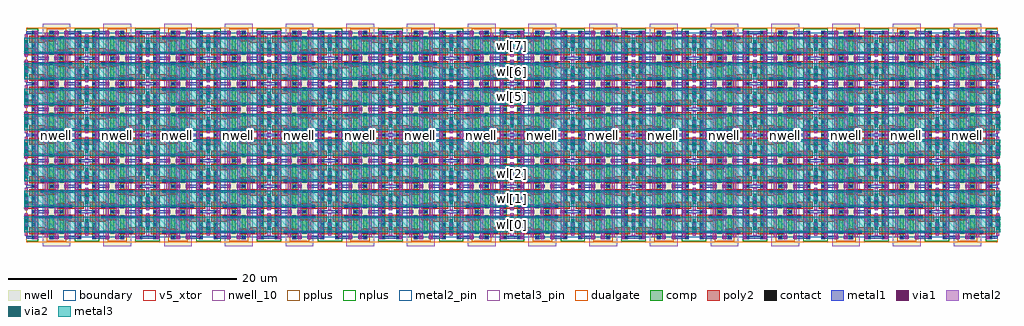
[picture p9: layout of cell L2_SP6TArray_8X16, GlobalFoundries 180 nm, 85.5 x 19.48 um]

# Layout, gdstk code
from math import pi, radians
import gdstk
lib = gdstk.Library(unit=1e-6, precision=1e-09)
def R(c, l, rs):  # rectangles x0, y0, x1, y1
    for r in rs: c.add(gdstk.rectangle(r[:2], r[2:], *l))
def A(c, l, x, y, w, h, nx, ny, dx, dy):  # array of equal rectangles
    R(c, l, [(x+i*dx, y+j*dy, x+i*dx+w, y+j*dy+h) for i in range(nx) for j in range(ny)])
def P(c, l, *ps):  # polygons
    for p in ps: c.add(gdstk.Polygon(p, *l))
boundary = (0, 0)
nwell = (21, 0)
nwell_10 = (21, 10)
comp = (22, 0)
poly2 = (30, 0)
pplus = (31, 0)
nplus = (32, 0)
contact = (33, 0)
metal1 = (34, 0)
via1 = (35, 0)
metal2 = (36, 0)
metal2_pin = (36, 10)
via2 = (38, 0)
metal3 = (42, 0)
metal3_pin = (42, 10)
dualgate = (55, 0)
v5_xtor = (112, 1)

l2_sp6tcell = lib.new_cell('L2_SP6TCell')
R(l2_sp6tcell, boundary, [(0,0,5.32,2.24)])
R(l2_sp6tcell, nwell, [(1.44,-0.78,3.88,3.02)])
R(l2_sp6tcell, nwell_10, [(1.44,-0.78,3.88,3.02)])
R(l2_sp6tcell, comp, [(0.48,-0.18,0.84,2.42), (2.92,-0.18,3.28,1.16), (4.48,-0.18,4.84,2.42), (2.04,0.295,2.4,0.655), (2.04,0.655,2.4,1.48), (2.92,0.76,3.28,1.585), (2.04,1.08,2.4,2.42), (2.92,1.585,3.28,1.945)])
R(l2_sp6tcell, poly2, [(-0.18,0.26,1.06,0.86), (4.26,1.38,5.5,1.98)])
P(l2_sp6tcell, poly2, [(0.26,1.38),(0.26,1.98),(2.62,1.98),(2.62,1.48),(1.62,1.48),(1.62,1.38)],
  [(2.7,0.26),(2.7,0.76),(3.7,0.76),(3.7,0.86),(5.06,0.86),(5.06,0.26)])
R(l2_sp6tcell, pplus, [(1.81,-0.34,3.51,2.58)])
R(l2_sp6tcell, nplus, [(0,-0.34,1.07,2.58), (4.25,-0.34,5.32,2.58)])
A(l2_sp6tcell, contact, 0.55, -0.11, 0.22, 0.22, 1, 3, 0, 1.12)
A(l2_sp6tcell, contact, 4.55, -0.11, 0.22, 0.22, 1, 3, 0, 1.12)
R(l2_sp6tcell, contact, [(2.99,-0.11,3.21,0.11), (-0.11,0.365,0.11,0.585), (2.11,0.365,2.33,0.585), (3.77,0.365,3.99,0.585), (1.33,1.655,1.55,1.875), (2.99,1.655,3.21,1.875), (5.21,1.655,5.43,1.875), (2.11,2.13,2.33,2.35)])
R(l2_sp6tcell, metal1, [(0.49,-0.13,1.97,0.13), (2.47,-0.13,3.27,0.13), (4.24,-0.13,5.32,0.13), (-0.17,0.36,0.17,1.31), (5.15,0.93,5.49,1.88), (0,2.11,1.08,2.37), (2.05,2.11,2.85,2.37), (3.35,2.11,4.83,2.37)])
P(l2_sp6tcell, metal1, [(4.545,0.95),(4.545,1.65),(1.27,1.65),(1.27,1.88),(4.775,1.88),(4.775,0.95)],
  [(0.545,0.36),(0.545,1.29),(0.775,1.29),(0.775,0.59),(4.05,0.59),(4.05,0.36)])
R(l2_sp6tcell, via1, [(1.65,-0.13,1.91,0.13), (2.53,-0.13,2.79,0.13), (4.3,-0.13,4.56,0.13), (-0.13,0.99,0.13,1.25), (5.19,0.99,5.45,1.25), (0.76,2.11,1.02,2.37), (2.53,2.11,2.79,2.37), (3.41,2.11,3.67,2.37)])
R(l2_sp6tcell, metal2, [(1.64,-0.19,1.92,2.24), (2.52,-0.19,2.8,2.43), (4.29,-0.19,4.57,2.24), (0.75,0,1.03,2.43), (3.4,0,3.68,2.43), (-0.14,0.14,0.14,2.1), (5.18,0.14,5.46,2.1)])
R(l2_sp6tcell, metal2_pin, [(1.64,-0.19,1.92,2.24), (2.52,-0.19,2.8,2.43), (4.29,-0.19,4.57,2.24), (0.75,0,1.03,2.43), (3.4,0,3.68,2.43)])
R(l2_sp6tcell, via2, [(-0.13,0.68,0.13,0.94), (5.19,0.68,5.45,0.94), (-0.13,1.3,0.13,1.56), (5.19,1.3,5.45,1.56)])
R(l2_sp6tcell, metal3, [(-0.19,0.42,5.51,1.82)])
R(l2_sp6tcell, metal3_pin, [(-0.19,0.42,5.51,1.82)])
R(l2_sp6tcell, dualgate, [(0,-0.42,5.32,2.66)])
R(l2_sp6tcell, v5_xtor, [(0.475,0.255,0.845,0.865), (2.915,0.255,3.285,0.765), (4.475,0.255,4.845,0.865), (0.475,1.375,0.845,1.985), (4.475,1.375,4.845,1.985), (2.035,1.475,2.405,1.985)])
l2_sp6tcell.add(gdstk.Label('nwell', (2.66,1.12), layer=21, texttype=10))
l2_sp6tcell.add(gdstk.Label('wl', (2.66,1.12), layer=42, texttype=10))
l2_sp6tcell.add(gdstk.Label('bl_n', (3.54,1.215), layer=36, texttype=10))
l2_sp6tcell.add(gdstk.Label('vdd', (2.66,1.12), layer=36, texttype=10))
l2_sp6tcell.add(gdstk.Label('vss', (4.43,1.025), layer=36, texttype=10))
l2_sp6tcell.add(gdstk.Label('vss', (0.89,1.215), layer=36, texttype=10))
l2_sp6tcell.add(gdstk.Label('bl', (1.78,1.025), layer=36, texttype=10))

l2_sp6tarray_2x1 = lib.new_cell('L2_SP6TArray_2X1')
R(l2_sp6tarray_2x1, boundary, [(0,0,5.32,4.48)])
R(l2_sp6tarray_2x1, nwell, [(1.44,-0.78,3.88,5.26)])
R(l2_sp6tarray_2x1, nwell_10, [(1.44,-0.78,3.88,5.26)])
R(l2_sp6tarray_2x1, metal2, [(0.75,-0.19,1.03,4.48), (2.52,-0.19,2.8,4.48), (3.4,-0.19,3.68,4.67), (1.64,0,1.92,4.48), (4.29,0,4.57,4.48)])
R(l2_sp6tarray_2x1, metal2_pin, [(0.75,-0.19,1.03,4.48), (2.52,-0.19,2.8,4.48), (3.4,-0.19,3.68,4.67), (1.64,0,1.92,4.48), (4.29,0,4.57,4.48)])
R(l2_sp6tarray_2x1, metal3, [(-0.19,0.42,5.51,1.82), (-0.19,2.66,5.51,4.06)])
R(l2_sp6tarray_2x1, metal3_pin, [(-0.19,0.42,5.51,1.82), (-0.19,2.66,5.51,4.06)])
l2_sp6tarray_2x1.add(gdstk.Reference(l2_sp6tcell, (0,2.24)))
l2_sp6tarray_2x1.add(gdstk.Reference(l2_sp6tcell, (0,2.24), x_reflection=True))
l2_sp6tarray_2x1.add(gdstk.Label('nwell', (2.66,2.24), layer=21, texttype=10))
l2_sp6tarray_2x1.add(gdstk.Label('wl[1]', (2.66,3.36), layer=42, texttype=10))
l2_sp6tarray_2x1.add(gdstk.Label('wl[0]', (2.66,1.12), layer=42, texttype=10))
l2_sp6tarray_2x1.add(gdstk.Label('bl_n[0]', (3.54,2.24), layer=36, texttype=10))
l2_sp6tarray_2x1.add(gdstk.Label('bl[0]', (1.78,2.24), layer=36, texttype=10))
l2_sp6tarray_2x1.add(gdstk.Label('vdd', (2.66,2.145), layer=36, texttype=10))
l2_sp6tarray_2x1.add(gdstk.Label('vss', (0.89,2.145), layer=36, texttype=10))
l2_sp6tarray_2x1.add(gdstk.Label('vss', (4.43,2.24), layer=36, texttype=10))

l2_sp6tarray_2x2 = lib.new_cell('L2_SP6TArray_2X2')
R(l2_sp6tarray_2x2, boundary, [(0,0,10.64,4.48)])
R(l2_sp6tarray_2x2, nwell, [(1.44,-0.78,3.88,5.26), (6.76,-0.78,9.2,5.26)])
R(l2_sp6tarray_2x2, nwell_10, [(1.44,-0.78,3.88,5.26), (6.76,-0.78,9.2,5.26)])
R(l2_sp6tarray_2x2, metal2, [(0.75,-0.19,1.03,4.48), (2.52,-0.19,2.8,4.48), (3.4,-0.19,3.68,4.67), (6.96,-0.19,7.24,4.67), (7.84,-0.19,8.12,4.48), (9.61,-0.19,9.89,4.48), (1.64,0,1.92,4.48), (4.29,0,4.57,4.48), (6.07,0,6.35,4.48), (8.72,0,9,4.48)])
R(l2_sp6tarray_2x2, metal2_pin, [(0.75,-0.19,1.03,4.48), (2.52,-0.19,2.8,4.48), (3.4,-0.19,3.68,4.67), (6.96,-0.19,7.24,4.67), (7.84,-0.19,8.12,4.48), (9.61,-0.19,9.89,4.48), (1.64,0,1.92,4.48), (4.29,0,4.57,4.48), (6.07,0,6.35,4.48), (8.72,0,9,4.48)])
R(l2_sp6tarray_2x2, metal3, [(-0.19,0.42,10.83,1.82), (-0.19,2.66,10.83,4.06)])
R(l2_sp6tarray_2x2, metal3_pin, [(-0.19,0.42,10.83,1.82), (-0.19,2.66,10.83,4.06)])
l2_sp6tarray_2x2.add(gdstk.Reference(l2_sp6tarray_2x1, (10.64,0), rotation=pi, x_reflection=True))
l2_sp6tarray_2x2.add(gdstk.Reference(l2_sp6tarray_2x1, (0,0)))
l2_sp6tarray_2x2.add(gdstk.Label('nwell', (2.66,2.24), layer=21, texttype=10))
l2_sp6tarray_2x2.add(gdstk.Label('nwell', (7.98,2.24), layer=21, texttype=10))
l2_sp6tarray_2x2.add(gdstk.Label('wl[1]', (5.32,3.36), layer=42, texttype=10))
l2_sp6tarray_2x2.add(gdstk.Label('wl[0]', (5.32,1.12), layer=42, texttype=10))
l2_sp6tarray_2x2.add(gdstk.Label('bl_n[1]', (7.1,2.24), layer=36, texttype=10))
l2_sp6tarray_2x2.add(gdstk.Label('bl[1]', (8.86,2.24), layer=36, texttype=10))
l2_sp6tarray_2x2.add(gdstk.Label('bl_n[0]', (3.54,2.24), layer=36, texttype=10))
l2_sp6tarray_2x2.add(gdstk.Label('bl[0]', (1.78,2.24), layer=36, texttype=10))
l2_sp6tarray_2x2.add(gdstk.Label('vdd', (2.66,2.145), layer=36, texttype=10))
l2_sp6tarray_2x2.add(gdstk.Label('vdd', (7.98,2.145), layer=36, texttype=10))
l2_sp6tarray_2x2.add(gdstk.Label('vss', (0.89,2.145), layer=36, texttype=10))
l2_sp6tarray_2x2.add(gdstk.Label('vss', (9.75,2.145), layer=36, texttype=10))
l2_sp6tarray_2x2.add(gdstk.Label('vss', (4.43,2.24), layer=36, texttype=10))
l2_sp6tarray_2x2.add(gdstk.Label('vss', (6.21,2.24), layer=36, texttype=10))

l2_sp6tarray_4x2 = lib.new_cell('L2_SP6TArray_4X2')
R(l2_sp6tarray_4x2, boundary, [(0,0,10.64,8.96)])
R(l2_sp6tarray_4x2, nwell, [(1.44,-0.78,3.88,9.74), (6.76,-0.78,9.2,9.74)])
R(l2_sp6tarray_4x2, nwell_10, [(1.44,-0.78,3.88,9.74), (6.76,-0.78,9.2,9.74)])
R(l2_sp6tarray_4x2, metal2, [(0.75,-0.19,1.03,8.96), (2.52,-0.19,2.8,8.96), (3.4,-0.19,3.68,9.15), (6.96,-0.19,7.24,9.15), (7.84,-0.19,8.12,8.96), (9.61,-0.19,9.89,8.96), (1.64,0,1.92,8.96), (4.29,0,4.57,8.96), (6.07,0,6.35,8.96), (8.72,0,9,8.96)])
R(l2_sp6tarray_4x2, metal2_pin, [(0.75,-0.19,1.03,8.96), (2.52,-0.19,2.8,8.96), (3.4,-0.19,3.68,9.15), (6.96,-0.19,7.24,9.15), (7.84,-0.19,8.12,8.96), (9.61,-0.19,9.89,8.96), (1.64,0,1.92,8.96), (4.29,0,4.57,8.96), (6.07,0,6.35,8.96), (8.72,0,9,8.96)])
A(l2_sp6tarray_4x2, metal3, -0.19, 0.42, 11.02, 1.4, 1, 4, 0, 2.24)
A(l2_sp6tarray_4x2, metal3_pin, -0.19, 0.42, 11.02, 1.4, 1, 4, 0, 2.24)
l2_sp6tarray_4x2.add(gdstk.Reference(l2_sp6tarray_2x2, (0,0)))
l2_sp6tarray_4x2.add(gdstk.Reference(l2_sp6tarray_2x2, (0,4.48)))
l2_sp6tarray_4x2.add(gdstk.Label('nwell', (2.66,4.48), layer=21, texttype=10))
l2_sp6tarray_4x2.add(gdstk.Label('nwell', (7.98,4.48), layer=21, texttype=10))
l2_sp6tarray_4x2.add(gdstk.Label('wl[3]', (5.32,7.84), layer=42, texttype=10))
l2_sp6tarray_4x2.add(gdstk.Label('wl[2]', (5.32,5.6), layer=42, texttype=10))
l2_sp6tarray_4x2.add(gdstk.Label('wl[1]', (5.32,3.36), layer=42, texttype=10))
l2_sp6tarray_4x2.add(gdstk.Label('wl[0]', (5.32,1.12), layer=42, texttype=10))
l2_sp6tarray_4x2.add(gdstk.Label('bl_n[1]', (7.1,4.48), layer=36, texttype=10))
l2_sp6tarray_4x2.add(gdstk.Label('bl[1]', (8.86,4.48), layer=36, texttype=10))
l2_sp6tarray_4x2.add(gdstk.Label('bl_n[0]', (3.54,4.48), layer=36, texttype=10))
l2_sp6tarray_4x2.add(gdstk.Label('bl[0]', (1.78,4.48), layer=36, texttype=10))
l2_sp6tarray_4x2.add(gdstk.Label('vdd', (2.66,4.385), layer=36, texttype=10))
l2_sp6tarray_4x2.add(gdstk.Label('vdd', (7.98,4.385), layer=36, texttype=10))
l2_sp6tarray_4x2.add(gdstk.Label('vss', (0.89,4.385), layer=36, texttype=10))
l2_sp6tarray_4x2.add(gdstk.Label('vss', (9.75,4.385), layer=36, texttype=10))
l2_sp6tarray_4x2.add(gdstk.Label('vss', (4.43,4.48), layer=36, texttype=10))
l2_sp6tarray_4x2.add(gdstk.Label('vss', (6.21,4.48), layer=36, texttype=10))

l2_sp6tarray_4x4 = lib.new_cell('L2_SP6TArray_4X4')
R(l2_sp6tarray_4x4, boundary, [(0,0,21.28,8.96)])
A(l2_sp6tarray_4x4, nwell, 1.44, -0.78, 2.44, 10.52, 4, 1, 5.32, 0)
A(l2_sp6tarray_4x4, nwell_10, 1.44, -0.78, 2.44, 10.52, 4, 1, 5.32, 0)
R(l2_sp6tarray_4x4, metal2, [(0.75,-0.19,1.03,8.96), (2.52,-0.19,2.8,8.96), (3.4,-0.19,3.68,9.15), (6.96,-0.19,7.24,9.15), (7.84,-0.19,8.12,8.96), (9.61,-0.19,9.89,8.96), (11.39,-0.19,11.67,8.96), (13.16,-0.19,13.44,8.96), (14.04,-0.19,14.32,9.15), (17.6,-0.19,17.88,9.15), (18.48,-0.19,18.76,8.96), (20.25,-0.19,20.53,8.96), (1.64,0,1.92,8.96), (4.29,0,4.57,8.96), (6.07,0,6.35,8.96), (8.72,0,9,8.96), (12.28,0,12.56,8.96), (14.93,0,15.21,8.96), (16.71,0,16.99,8.96), (19.36,0,19.64,8.96)])
R(l2_sp6tarray_4x4, metal2_pin, [(0.75,-0.19,1.03,8.96), (2.52,-0.19,2.8,8.96), (3.4,-0.19,3.68,9.15), (6.96,-0.19,7.24,9.15), (7.84,-0.19,8.12,8.96), (9.61,-0.19,9.89,8.96), (11.39,-0.19,11.67,8.96), (13.16,-0.19,13.44,8.96), (14.04,-0.19,14.32,9.15), (17.6,-0.19,17.88,9.15), (18.48,-0.19,18.76,8.96), (20.25,-0.19,20.53,8.96), (1.64,0,1.92,8.96), (4.29,0,4.57,8.96), (6.07,0,6.35,8.96), (8.72,0,9,8.96), (12.28,0,12.56,8.96), (14.93,0,15.21,8.96), (16.71,0,16.99,8.96), (19.36,0,19.64,8.96)])
A(l2_sp6tarray_4x4, metal3, -0.19, 0.42, 21.66, 1.4, 1, 4, 0, 2.24)
A(l2_sp6tarray_4x4, metal3_pin, -0.19, 0.42, 21.66, 1.4, 1, 4, 0, 2.24)
l2_sp6tarray_4x4.add(gdstk.Reference(l2_sp6tarray_4x2, (0,0)))
l2_sp6tarray_4x4.add(gdstk.Reference(l2_sp6tarray_4x2, (10.64,0)))
l2_sp6tarray_4x4.add(gdstk.Label('nwell', (2.66,4.48), layer=21, texttype=10))
l2_sp6tarray_4x4.add(gdstk.Label('nwell', (7.98,4.48), layer=21, texttype=10))
l2_sp6tarray_4x4.add(gdstk.Label('nwell', (13.3,4.48), layer=21, texttype=10))
l2_sp6tarray_4x4.add(gdstk.Label('nwell', (18.62,4.48), layer=21, texttype=10))
l2_sp6tarray_4x4.add(gdstk.Label('wl[3]', (10.64,7.84), layer=42, texttype=10))
l2_sp6tarray_4x4.add(gdstk.Label('wl[2]', (10.64,5.6), layer=42, texttype=10))
l2_sp6tarray_4x4.add(gdstk.Label('wl[1]', (10.64,3.36), layer=42, texttype=10))
l2_sp6tarray_4x4.add(gdstk.Label('wl[0]', (10.64,1.12), layer=42, texttype=10))
l2_sp6tarray_4x4.add(gdstk.Label('bl_n[3]', (17.74,4.48), layer=36, texttype=10))
l2_sp6tarray_4x4.add(gdstk.Label('bl[3]', (19.5,4.48), layer=36, texttype=10))
l2_sp6tarray_4x4.add(gdstk.Label('bl_n[2]', (14.18,4.48), layer=36, texttype=10))
l2_sp6tarray_4x4.add(gdstk.Label('bl[2]', (12.42,4.48), layer=36, texttype=10))
l2_sp6tarray_4x4.add(gdstk.Label('bl_n[1]', (7.1,4.48), layer=36, texttype=10))
l2_sp6tarray_4x4.add(gdstk.Label('bl[1]', (8.86,4.48), layer=36, texttype=10))
l2_sp6tarray_4x4.add(gdstk.Label('bl_n[0]', (3.54,4.48), layer=36, texttype=10))
l2_sp6tarray_4x4.add(gdstk.Label('bl[0]', (1.78,4.48), layer=36, texttype=10))
l2_sp6tarray_4x4.add(gdstk.Label('vdd', (2.66,4.385), layer=36, texttype=10))
l2_sp6tarray_4x4.add(gdstk.Label('vdd', (7.98,4.385), layer=36, texttype=10))
l2_sp6tarray_4x4.add(gdstk.Label('vdd', (13.3,4.385), layer=36, texttype=10))
l2_sp6tarray_4x4.add(gdstk.Label('vdd', (18.62,4.385), layer=36, texttype=10))
l2_sp6tarray_4x4.add(gdstk.Label('vss', (0.89,4.385), layer=36, texttype=10))
l2_sp6tarray_4x4.add(gdstk.Label('vss', (9.75,4.385), layer=36, texttype=10))
l2_sp6tarray_4x4.add(gdstk.Label('vss', (11.53,4.385), layer=36, texttype=10))
l2_sp6tarray_4x4.add(gdstk.Label('vss', (20.39,4.385), layer=36, texttype=10))
l2_sp6tarray_4x4.add(gdstk.Label('vss', (4.43,4.48), layer=36, texttype=10))
l2_sp6tarray_4x4.add(gdstk.Label('vss', (6.21,4.48), layer=36, texttype=10))
l2_sp6tarray_4x4.add(gdstk.Label('vss', (15.07,4.48), layer=36, texttype=10))
l2_sp6tarray_4x4.add(gdstk.Label('vss', (16.85,4.48), layer=36, texttype=10))

l2_sp6tarray_8x4 = lib.new_cell('L2_SP6TArray_8X4')
R(l2_sp6tarray_8x4, boundary, [(0,0,21.28,17.92)])
A(l2_sp6tarray_8x4, nwell, 1.44, -0.78, 2.44, 19.48, 4, 1, 5.32, 0)
A(l2_sp6tarray_8x4, nwell_10, 1.44, -0.78, 2.44, 19.48, 4, 1, 5.32, 0)
R(l2_sp6tarray_8x4, metal2, [(0.75,-0.19,1.03,17.92), (2.52,-0.19,2.8,17.92), (3.4,-0.19,3.68,18.11), (6.96,-0.19,7.24,18.11), (7.84,-0.19,8.12,17.92), (9.61,-0.19,9.89,17.92), (11.39,-0.19,11.67,17.92), (13.16,-0.19,13.44,17.92), (14.04,-0.19,14.32,18.11), (17.6,-0.19,17.88,18.11), (18.48,-0.19,18.76,17.92), (20.25,-0.19,20.53,17.92), (1.64,0,1.92,17.92), (4.29,0,4.57,17.92), (6.07,0,6.35,17.92), (8.72,0,9,17.92), (12.28,0,12.56,17.92), (14.93,0,15.21,17.92), (16.71,0,16.99,17.92), (19.36,0,19.64,17.92)])
R(l2_sp6tarray_8x4, metal2_pin, [(0.75,-0.19,1.03,17.92), (2.52,-0.19,2.8,17.92), (3.4,-0.19,3.68,18.11), (6.96,-0.19,7.24,18.11), (7.84,-0.19,8.12,17.92), (9.61,-0.19,9.89,17.92), (11.39,-0.19,11.67,17.92), (13.16,-0.19,13.44,17.92), (14.04,-0.19,14.32,18.11), (17.6,-0.19,17.88,18.11), (18.48,-0.19,18.76,17.92), (20.25,-0.19,20.53,17.92), (1.64,0,1.92,17.92), (4.29,0,4.57,17.92), (6.07,0,6.35,17.92), (8.72,0,9,17.92), (12.28,0,12.56,17.92), (14.93,0,15.21,17.92), (16.71,0,16.99,17.92), (19.36,0,19.64,17.92)])
A(l2_sp6tarray_8x4, metal3, -0.19, 0.42, 21.66, 1.4, 1, 8, 0, 2.24)
A(l2_sp6tarray_8x4, metal3_pin, -0.19, 0.42, 21.66, 1.4, 1, 8, 0, 2.24)
l2_sp6tarray_8x4.add(gdstk.Reference(l2_sp6tarray_4x4, (0,0)))
l2_sp6tarray_8x4.add(gdstk.Reference(l2_sp6tarray_4x4, (0,8.96)))
l2_sp6tarray_8x4.add(gdstk.Label('nwell', (2.66,8.96), layer=21, texttype=10))
l2_sp6tarray_8x4.add(gdstk.Label('nwell', (7.98,8.96), layer=21, texttype=10))
l2_sp6tarray_8x4.add(gdstk.Label('nwell', (13.3,8.96), layer=21, texttype=10))
l2_sp6tarray_8x4.add(gdstk.Label('nwell', (18.62,8.96), layer=21, texttype=10))
l2_sp6tarray_8x4.add(gdstk.Label('wl[5]', (10.64,12.32), layer=42, texttype=10))
l2_sp6tarray_8x4.add(gdstk.Label('wl[4]', (10.64,10.08), layer=42, texttype=10))
l2_sp6tarray_8x4.add(gdstk.Label('wl[3]', (10.64,7.84), layer=42, texttype=10))
l2_sp6tarray_8x4.add(gdstk.Label('wl[6]', (10.64,14.56), layer=42, texttype=10))
l2_sp6tarray_8x4.add(gdstk.Label('wl[2]', (10.64,5.6), layer=42, texttype=10))
l2_sp6tarray_8x4.add(gdstk.Label('wl[7]', (10.64,16.8), layer=42, texttype=10))
l2_sp6tarray_8x4.add(gdstk.Label('wl[1]', (10.64,3.36), layer=42, texttype=10))
l2_sp6tarray_8x4.add(gdstk.Label('wl[0]', (10.64,1.12), layer=42, texttype=10))
l2_sp6tarray_8x4.add(gdstk.Label('bl_n[3]', (17.74,8.96), layer=36, texttype=10))
l2_sp6tarray_8x4.add(gdstk.Label('bl[3]', (19.5,8.96), layer=36, texttype=10))
l2_sp6tarray_8x4.add(gdstk.Label('bl_n[2]', (14.18,8.96), layer=36, texttype=10))
l2_sp6tarray_8x4.add(gdstk.Label('bl[2]', (12.42,8.96), layer=36, texttype=10))
l2_sp6tarray_8x4.add(gdstk.Label('bl_n[1]', (7.1,8.96), layer=36, texttype=10))
l2_sp6tarray_8x4.add(gdstk.Label('bl[1]', (8.86,8.96), layer=36, texttype=10))
l2_sp6tarray_8x4.add(gdstk.Label('bl_n[0]', (3.54,8.96), layer=36, texttype=10))
l2_sp6tarray_8x4.add(gdstk.Label('bl[0]', (1.78,8.96), layer=36, texttype=10))
l2_sp6tarray_8x4.add(gdstk.Label('vdd', (2.66,8.865), layer=36, texttype=10))
l2_sp6tarray_8x4.add(gdstk.Label('vdd', (7.98,8.865), layer=36, texttype=10))
l2_sp6tarray_8x4.add(gdstk.Label('vdd', (13.3,8.865), layer=36, texttype=10))
l2_sp6tarray_8x4.add(gdstk.Label('vdd', (18.62,8.865), layer=36, texttype=10))
l2_sp6tarray_8x4.add(gdstk.Label('vss', (0.89,8.865), layer=36, texttype=10))
l2_sp6tarray_8x4.add(gdstk.Label('vss', (9.75,8.865), layer=36, texttype=10))
l2_sp6tarray_8x4.add(gdstk.Label('vss', (11.53,8.865), layer=36, texttype=10))
l2_sp6tarray_8x4.add(gdstk.Label('vss', (20.39,8.865), layer=36, texttype=10))
l2_sp6tarray_8x4.add(gdstk.Label('vss', (4.43,8.96), layer=36, texttype=10))
l2_sp6tarray_8x4.add(gdstk.Label('vss', (6.21,8.96), layer=36, texttype=10))
l2_sp6tarray_8x4.add(gdstk.Label('vss', (15.07,8.96), layer=36, texttype=10))
l2_sp6tarray_8x4.add(gdstk.Label('vss', (16.85,8.96), layer=36, texttype=10))

l2_sp6tarray_8x8 = lib.new_cell('L2_SP6TArray_8X8')
R(l2_sp6tarray_8x8, boundary, [(0,0,42.56,17.92)])
A(l2_sp6tarray_8x8, nwell, 1.44, -0.78, 2.44, 19.48, 8, 1, 5.32, 0)
A(l2_sp6tarray_8x8, nwell_10, 1.44, -0.78, 2.44, 19.48, 8, 1, 5.32, 0)
R(l2_sp6tarray_8x8, metal2, [(0.75,-0.19,1.03,17.92), (2.52,-0.19,2.8,17.92), (3.4,-0.19,3.68,18.11), (6.96,-0.19,7.24,18.11), (7.84,-0.19,8.12,17.92), (9.61,-0.19,9.89,17.92), (11.39,-0.19,11.67,17.92), (13.16,-0.19,13.44,17.92), (14.04,-0.19,14.32,18.11), (17.6,-0.19,17.88,18.11), (18.48,-0.19,18.76,17.92), (20.25,-0.19,20.53,17.92), (22.03,-0.19,22.31,17.92), (23.8,-0.19,24.08,17.92), (24.68,-0.19,24.96,18.11), (28.24,-0.19,28.52,18.11), (29.12,-0.19,29.4,17.92), (30.89,-0.19,31.17,17.92), (32.67,-0.19,32.95,17.92), (34.44,-0.19,34.72,17.92), (35.32,-0.19,35.6,18.11), (38.88,-0.19,39.16,18.11), (39.76,-0.19,40.04,17.92), (41.53,-0.19,41.81,17.92), (1.64,0,1.92,17.92), (4.29,0,4.57,17.92), (6.07,0,6.35,17.92), (8.72,0,9,17.92), (12.28,0,12.56,17.92), (14.93,0,15.21,17.92), (16.71,0,16.99,17.92), (19.36,0,19.64,17.92), (22.92,0,23.2,17.92), (25.57,0,25.85,17.92), (27.35,0,27.63,17.92), (30,0,30.28,17.92), (33.56,0,33.84,17.92), (36.21,0,36.49,17.92), (37.99,0,38.27,17.92), (40.64,0,40.92,17.92)])
R(l2_sp6tarray_8x8, metal2_pin, [(0.75,-0.19,1.03,17.92), (2.52,-0.19,2.8,17.92), (3.4,-0.19,3.68,18.11), (6.96,-0.19,7.24,18.11), (7.84,-0.19,8.12,17.92), (9.61,-0.19,9.89,17.92), (11.39,-0.19,11.67,17.92), (13.16,-0.19,13.44,17.92), (14.04,-0.19,14.32,18.11), (17.6,-0.19,17.88,18.11), (18.48,-0.19,18.76,17.92), (20.25,-0.19,20.53,17.92), (22.03,-0.19,22.31,17.92), (23.8,-0.19,24.08,17.92), (24.68,-0.19,24.96,18.11), (28.24,-0.19,28.52,18.11), (29.12,-0.19,29.4,17.92), (30.89,-0.19,31.17,17.92), (32.67,-0.19,32.95,17.92), (34.44,-0.19,34.72,17.92), (35.32,-0.19,35.6,18.11), (38.88,-0.19,39.16,18.11), (39.76,-0.19,40.04,17.92), (41.53,-0.19,41.81,17.92), (1.64,0,1.92,17.92), (4.29,0,4.57,17.92), (6.07,0,6.35,17.92), (8.72,0,9,17.92), (12.28,0,12.56,17.92), (14.93,0,15.21,17.92), (16.71,0,16.99,17.92), (19.36,0,19.64,17.92), (22.92,0,23.2,17.92), (25.57,0,25.85,17.92), (27.35,0,27.63,17.92), (30,0,30.28,17.92), (33.56,0,33.84,17.92), (36.21,0,36.49,17.92), (37.99,0,38.27,17.92), (40.64,0,40.92,17.92)])
A(l2_sp6tarray_8x8, metal3, -0.19, 0.42, 42.94, 1.4, 1, 8, 0, 2.24)
A(l2_sp6tarray_8x8, metal3_pin, -0.19, 0.42, 42.94, 1.4, 1, 8, 0, 2.24)
l2_sp6tarray_8x8.add(gdstk.Reference(l2_sp6tarray_8x4, (0,0)))
l2_sp6tarray_8x8.add(gdstk.Reference(l2_sp6tarray_8x4, (21.28,0)))
l2_sp6tarray_8x8.add(gdstk.Label('nwell', (2.66,8.96), layer=21, texttype=10))
l2_sp6tarray_8x8.add(gdstk.Label('nwell', (7.98,8.96), layer=21, texttype=10))
l2_sp6tarray_8x8.add(gdstk.Label('nwell', (13.3,8.96), layer=21, texttype=10))
l2_sp6tarray_8x8.add(gdstk.Label('nwell', (18.62,8.96), layer=21, texttype=10))
l2_sp6tarray_8x8.add(gdstk.Label('nwell', (23.94,8.96), layer=21, texttype=10))
l2_sp6tarray_8x8.add(gdstk.Label('nwell', (29.26,8.96), layer=21, texttype=10))
l2_sp6tarray_8x8.add(gdstk.Label('nwell', (34.58,8.96), layer=21, texttype=10))
l2_sp6tarray_8x8.add(gdstk.Label('nwell', (39.9,8.96), layer=21, texttype=10))
l2_sp6tarray_8x8.add(gdstk.Label('wl[5]', (21.28,12.32), layer=42, texttype=10))
l2_sp6tarray_8x8.add(gdstk.Label('wl[4]', (21.28,10.08), layer=42, texttype=10))
l2_sp6tarray_8x8.add(gdstk.Label('wl[3]', (21.28,7.84), layer=42, texttype=10))
l2_sp6tarray_8x8.add(gdstk.Label('wl[6]', (21.28,14.56), layer=42, texttype=10))
l2_sp6tarray_8x8.add(gdstk.Label('wl[2]', (21.28,5.6), layer=42, texttype=10))
l2_sp6tarray_8x8.add(gdstk.Label('wl[7]', (21.28,16.8), layer=42, texttype=10))
l2_sp6tarray_8x8.add(gdstk.Label('wl[1]', (21.28,3.36), layer=42, texttype=10))
l2_sp6tarray_8x8.add(gdstk.Label('wl[0]', (21.28,1.12), layer=42, texttype=10))
l2_sp6tarray_8x8.add(gdstk.Label('bl_n[7]', (39.02,8.96), layer=36, texttype=10))
l2_sp6tarray_8x8.add(gdstk.Label('bl_n[6]', (35.46,8.96), layer=36, texttype=10))
l2_sp6tarray_8x8.add(gdstk.Label('bl[6]', (33.7,8.96), layer=36, texttype=10))
l2_sp6tarray_8x8.add(gdstk.Label('bl_n[5]', (28.38,8.96), layer=36, texttype=10))
l2_sp6tarray_8x8.add(gdstk.Label('bl[7]', (40.78,8.96), layer=36, texttype=10))
l2_sp6tarray_8x8.add(gdstk.Label('vss', (0.89,8.865), layer=36, texttype=10))
l2_sp6tarray_8x8.add(gdstk.Label('vss', (11.53,8.865), layer=36, texttype=10))
l2_sp6tarray_8x8.add(gdstk.Label('vss', (22.17,8.865), layer=36, texttype=10))
l2_sp6tarray_8x8.add(gdstk.Label('vss', (32.81,8.865), layer=36, texttype=10))
l2_sp6tarray_8x8.add(gdstk.Label('vss', (9.75,8.865), layer=36, texttype=10))
l2_sp6tarray_8x8.add(gdstk.Label('vss', (20.39,8.865), layer=36, texttype=10))
l2_sp6tarray_8x8.add(gdstk.Label('vss', (31.03,8.865), layer=36, texttype=10))
l2_sp6tarray_8x8.add(gdstk.Label('vss', (41.67,8.865), layer=36, texttype=10))
l2_sp6tarray_8x8.add(gdstk.Label('vss', (4.43,8.96), layer=36, texttype=10))
l2_sp6tarray_8x8.add(gdstk.Label('vss', (15.07,8.96), layer=36, texttype=10))
l2_sp6tarray_8x8.add(gdstk.Label('vss', (25.71,8.96), layer=36, texttype=10))
l2_sp6tarray_8x8.add(gdstk.Label('vss', (36.35,8.96), layer=36, texttype=10))
l2_sp6tarray_8x8.add(gdstk.Label('vss', (6.21,8.96), layer=36, texttype=10))
l2_sp6tarray_8x8.add(gdstk.Label('vss', (16.85,8.96), layer=36, texttype=10))
l2_sp6tarray_8x8.add(gdstk.Label('vss', (27.49,8.96), layer=36, texttype=10))
l2_sp6tarray_8x8.add(gdstk.Label('vss', (38.13,8.96), layer=36, texttype=10))
l2_sp6tarray_8x8.add(gdstk.Label('vdd', (2.66,8.865), layer=36, texttype=10))
l2_sp6tarray_8x8.add(gdstk.Label('vdd', (7.98,8.865), layer=36, texttype=10))
l2_sp6tarray_8x8.add(gdstk.Label('vdd', (13.3,8.865), layer=36, texttype=10))
l2_sp6tarray_8x8.add(gdstk.Label('vdd', (18.62,8.865), layer=36, texttype=10))
l2_sp6tarray_8x8.add(gdstk.Label('vdd', (23.94,8.865), layer=36, texttype=10))
l2_sp6tarray_8x8.add(gdstk.Label('vdd', (29.26,8.865), layer=36, texttype=10))
l2_sp6tarray_8x8.add(gdstk.Label('vdd', (34.58,8.865), layer=36, texttype=10))
l2_sp6tarray_8x8.add(gdstk.Label('vdd', (39.9,8.865), layer=36, texttype=10))
l2_sp6tarray_8x8.add(gdstk.Label('bl_n[4]', (24.82,8.96), layer=36, texttype=10))
l2_sp6tarray_8x8.add(gdstk.Label('bl[0]', (1.78,8.96), layer=36, texttype=10))
l2_sp6tarray_8x8.add(gdstk.Label('bl[5]', (30.14,8.96), layer=36, texttype=10))
l2_sp6tarray_8x8.add(gdstk.Label('bl_n[1]', (7.1,8.96), layer=36, texttype=10))
l2_sp6tarray_8x8.add(gdstk.Label('bl[2]', (12.42,8.96), layer=36, texttype=10))
l2_sp6tarray_8x8.add(gdstk.Label('bl_n[2]', (14.18,8.96), layer=36, texttype=10))
l2_sp6tarray_8x8.add(gdstk.Label('bl_n[0]', (3.54,8.96), layer=36, texttype=10))
l2_sp6tarray_8x8.add(gdstk.Label('bl[3]', (19.5,8.96), layer=36, texttype=10))
l2_sp6tarray_8x8.add(gdstk.Label('bl[1]', (8.86,8.96), layer=36, texttype=10))
l2_sp6tarray_8x8.add(gdstk.Label('bl[4]', (23.06,8.96), layer=36, texttype=10))
l2_sp6tarray_8x8.add(gdstk.Label('bl_n[3]', (17.74,8.96), layer=36, texttype=10))

l2_sp6tarray_8x16 = lib.new_cell('L2_SP6TArray_8X16')
R(l2_sp6tarray_8x16, boundary, [(0,0,85.12,17.92)])
A(l2_sp6tarray_8x16, nwell, 1.44, -0.78, 2.44, 19.48, 16, 1, 5.32, 0)
A(l2_sp6tarray_8x16, nwell_10, 1.44, -0.78, 2.44, 19.48, 16, 1, 5.32, 0)
R(l2_sp6tarray_8x16, metal2, [(0.75,-0.19,1.03,17.92), (2.52,-0.19,2.8,17.92), (3.4,-0.19,3.68,18.11), (6.96,-0.19,7.24,18.11), (7.84,-0.19,8.12,17.92), (9.61,-0.19,9.89,17.92), (11.39,-0.19,11.67,17.92), (13.16,-0.19,13.44,17.92), (14.04,-0.19,14.32,18.11), (17.6,-0.19,17.88,18.11), (18.48,-0.19,18.76,17.92), (20.25,-0.19,20.53,17.92), (22.03,-0.19,22.31,17.92), (23.8,-0.19,24.08,17.92), (24.68,-0.19,24.96,18.11), (28.24,-0.19,28.52,18.11), (29.12,-0.19,29.4,17.92), (30.89,-0.19,31.17,17.92), (32.67,-0.19,32.95,17.92), (34.44,-0.19,34.72,17.92), (35.32,-0.19,35.6,18.11), (38.88,-0.19,39.16,18.11), (39.76,-0.19,40.04,17.92), (41.53,-0.19,41.81,17.92), (43.31,-0.19,43.59,17.92), (45.08,-0.19,45.36,17.92), (45.96,-0.19,46.24,18.11), (49.52,-0.19,49.8,18.11), (50.4,-0.19,50.68,17.92), (52.17,-0.19,52.45,17.92), (53.95,-0.19,54.23,17.92), (55.72,-0.19,56,17.92), (56.6,-0.19,56.88,18.11), (60.16,-0.19,60.44,18.11), (61.04,-0.19,61.32,17.92), (62.81,-0.19,63.09,17.92), (64.59,-0.19,64.87,17.92), (66.36,-0.19,66.64,17.92), (67.24,-0.19,67.52,18.11), (70.8,-0.19,71.08,18.11), (71.68,-0.19,71.96,17.92), (73.45,-0.19,73.73,17.92), (75.23,-0.19,75.51,17.92), (77,-0.19,77.28,17.92), (77.88,-0.19,78.16,18.11), (81.44,-0.19,81.72,18.11), (82.32,-0.19,82.6,17.92), (84.09,-0.19,84.37,17.92), (1.64,0,1.92,17.92), (4.29,0,4.57,17.92), (6.07,0,6.35,17.92), (8.72,0,9,17.92), (12.28,0,12.56,17.92), (14.93,0,15.21,17.92), (16.71,0,16.99,17.92), (19.36,0,19.64,17.92), (22.92,0,23.2,17.92), (25.57,0,25.85,17.92), (27.35,0,27.63,17.92), (30,0,30.28,17.92), (33.56,0,33.84,17.92), (36.21,0,36.49,17.92), (37.99,0,38.27,17.92), (40.64,0,40.92,17.92), (44.2,0,44.48,17.92), (46.85,0,47.13,17.92), (48.63,0,48.91,17.92), (51.28,0,51.56,17.92), (54.84,0,55.12,17.92), (57.49,0,57.77,17.92), (59.27,0,59.55,17.92), (61.92,0,62.2,17.92), (65.48,0,65.76,17.92), (68.13,0,68.41,17.92), (69.91,0,70.19,17.92), (72.56,0,72.84,17.92), (76.12,0,76.4,17.92), (78.77,0,79.05,17.92), (80.55,0,80.83,17.92), (83.2,0,83.48,17.92)])
R(l2_sp6tarray_8x16, metal2_pin, [(0.75,-0.19,1.03,17.92), (2.52,-0.19,2.8,17.92), (3.4,-0.19,3.68,18.11), (6.96,-0.19,7.24,18.11), (7.84,-0.19,8.12,17.92), (9.61,-0.19,9.89,17.92), (11.39,-0.19,11.67,17.92), (13.16,-0.19,13.44,17.92), (14.04,-0.19,14.32,18.11), (17.6,-0.19,17.88,18.11), (18.48,-0.19,18.76,17.92), (20.25,-0.19,20.53,17.92), (22.03,-0.19,22.31,17.92), (23.8,-0.19,24.08,17.92), (24.68,-0.19,24.96,18.11), (28.24,-0.19,28.52,18.11), (29.12,-0.19,29.4,17.92), (30.89,-0.19,31.17,17.92), (32.67,-0.19,32.95,17.92), (34.44,-0.19,34.72,17.92), (35.32,-0.19,35.6,18.11), (38.88,-0.19,39.16,18.11), (39.76,-0.19,40.04,17.92), (41.53,-0.19,41.81,17.92), (43.31,-0.19,43.59,17.92), (45.08,-0.19,45.36,17.92), (45.96,-0.19,46.24,18.11), (49.52,-0.19,49.8,18.11), (50.4,-0.19,50.68,17.92), (52.17,-0.19,52.45,17.92), (53.95,-0.19,54.23,17.92), (55.72,-0.19,56,17.92), (56.6,-0.19,56.88,18.11), (60.16,-0.19,60.44,18.11), (61.04,-0.19,61.32,17.92), (62.81,-0.19,63.09,17.92), (64.59,-0.19,64.87,17.92), (66.36,-0.19,66.64,17.92), (67.24,-0.19,67.52,18.11), (70.8,-0.19,71.08,18.11), (71.68,-0.19,71.96,17.92), (73.45,-0.19,73.73,17.92), (75.23,-0.19,75.51,17.92), (77,-0.19,77.28,17.92), (77.88,-0.19,78.16,18.11), (81.44,-0.19,81.72,18.11), (82.32,-0.19,82.6,17.92), (84.09,-0.19,84.37,17.92), (1.64,0,1.92,17.92), (4.29,0,4.57,17.92), (6.07,0,6.35,17.92), (8.72,0,9,17.92), (12.28,0,12.56,17.92), (14.93,0,15.21,17.92), (16.71,0,16.99,17.92), (19.36,0,19.64,17.92), (22.92,0,23.2,17.92), (25.57,0,25.85,17.92), (27.35,0,27.63,17.92), (30,0,30.28,17.92), (33.56,0,33.84,17.92), (36.21,0,36.49,17.92), (37.99,0,38.27,17.92), (40.64,0,40.92,17.92), (44.2,0,44.48,17.92), (46.85,0,47.13,17.92), (48.63,0,48.91,17.92), (51.28,0,51.56,17.92), (54.84,0,55.12,17.92), (57.49,0,57.77,17.92), (59.27,0,59.55,17.92), (61.92,0,62.2,17.92), (65.48,0,65.76,17.92), (68.13,0,68.41,17.92), (69.91,0,70.19,17.92), (72.56,0,72.84,17.92), (76.12,0,76.4,17.92), (78.77,0,79.05,17.92), (80.55,0,80.83,17.92), (83.2,0,83.48,17.92)])
A(l2_sp6tarray_8x16, metal3, -0.19, 0.42, 85.5, 1.4, 1, 8, 0, 2.24)
A(l2_sp6tarray_8x16, metal3_pin, -0.19, 0.42, 85.5, 1.4, 1, 8, 0, 2.24)
l2_sp6tarray_8x16.add(gdstk.Reference(l2_sp6tarray_8x8, (0,0)))
l2_sp6tarray_8x16.add(gdstk.Reference(l2_sp6tarray_8x8, (42.56,0)))
l2_sp6tarray_8x16.add(gdstk.Label('nwell', (2.66,8.96), layer=21, texttype=10))
l2_sp6tarray_8x16.add(gdstk.Label('nwell', (7.98,8.96), layer=21, texttype=10))
l2_sp6tarray_8x16.add(gdstk.Label('nwell', (13.3,8.96), layer=21, texttype=10))
l2_sp6tarray_8x16.add(gdstk.Label('nwell', (18.62,8.96), layer=21, texttype=10))
l2_sp6tarray_8x16.add(gdstk.Label('nwell', (23.94,8.96), layer=21, texttype=10))
l2_sp6tarray_8x16.add(gdstk.Label('nwell', (29.26,8.96), layer=21, texttype=10))
l2_sp6tarray_8x16.add(gdstk.Label('nwell', (34.58,8.96), layer=21, texttype=10))
l2_sp6tarray_8x16.add(gdstk.Label('nwell', (39.9,8.96), layer=21, texttype=10))
l2_sp6tarray_8x16.add(gdstk.Label('nwell', (45.22,8.96), layer=21, texttype=10))
l2_sp6tarray_8x16.add(gdstk.Label('nwell', (50.54,8.96), layer=21, texttype=10))
l2_sp6tarray_8x16.add(gdstk.Label('nwell', (55.86,8.96), layer=21, texttype=10))
l2_sp6tarray_8x16.add(gdstk.Label('nwell', (61.18,8.96), layer=21, texttype=10))
l2_sp6tarray_8x16.add(gdstk.Label('nwell', (66.5,8.96), layer=21, texttype=10))
l2_sp6tarray_8x16.add(gdstk.Label('nwell', (71.82,8.96), layer=21, texttype=10))
l2_sp6tarray_8x16.add(gdstk.Label('nwell', (77.14,8.96), layer=21, texttype=10))
l2_sp6tarray_8x16.add(gdstk.Label('nwell', (82.46,8.96), layer=21, texttype=10))
l2_sp6tarray_8x16.add(gdstk.Label('wl[5]', (42.56,12.32), layer=42, texttype=10))
l2_sp6tarray_8x16.add(gdstk.Label('wl[4]', (42.56,10.08), layer=42, texttype=10))
l2_sp6tarray_8x16.add(gdstk.Label('wl[3]', (42.56,7.84), layer=42, texttype=10))
l2_sp6tarray_8x16.add(gdstk.Label('wl[6]', (42.56,14.56), layer=42, texttype=10))
l2_sp6tarray_8x16.add(gdstk.Label('wl[2]', (42.56,5.6), layer=42, texttype=10))
l2_sp6tarray_8x16.add(gdstk.Label('wl[7]', (42.56,16.8), layer=42, texttype=10))
l2_sp6tarray_8x16.add(gdstk.Label('wl[1]', (42.56,3.36), layer=42, texttype=10))
l2_sp6tarray_8x16.add(gdstk.Label('wl[0]', (42.56,1.12), layer=42, texttype=10))
l2_sp6tarray_8x16.add(gdstk.Label('bl_n[15]', (81.58,8.96), layer=36, texttype=10))
l2_sp6tarray_8x16.add(gdstk.Label('bl_n[14]', (78.02,8.96), layer=36, texttype=10))
l2_sp6tarray_8x16.add(gdstk.Label('bl[14]', (76.26,8.96), layer=36, texttype=10))
l2_sp6tarray_8x16.add(gdstk.Label('bl_n[13]', (70.94,8.96), layer=36, texttype=10))
l2_sp6tarray_8x16.add(gdstk.Label('bl[4]', (23.06,8.96), layer=36, texttype=10))
l2_sp6tarray_8x16.add(gdstk.Label('bl_n[0]', (3.54,8.96), layer=36, texttype=10))
l2_sp6tarray_8x16.add(gdstk.Label('bl[3]', (19.5,8.96), layer=36, texttype=10))
l2_sp6tarray_8x16.add(gdstk.Label('bl_n[2]', (14.18,8.96), layer=36, texttype=10))
l2_sp6tarray_8x16.add(gdstk.Label('bl_n[1]', (7.1,8.96), layer=36, texttype=10))
l2_sp6tarray_8x16.add(gdstk.Label('bl[5]', (30.14,8.96), layer=36, texttype=10))
l2_sp6tarray_8x16.add(gdstk.Label('bl[0]', (1.78,8.96), layer=36, texttype=10))
l2_sp6tarray_8x16.add(gdstk.Label('vdd', (2.66,8.865), layer=36, texttype=10))
l2_sp6tarray_8x16.add(gdstk.Label('vdd', (7.98,8.865), layer=36, texttype=10))
l2_sp6tarray_8x16.add(gdstk.Label('vdd', (13.3,8.865), layer=36, texttype=10))
l2_sp6tarray_8x16.add(gdstk.Label('vdd', (18.62,8.865), layer=36, texttype=10))
l2_sp6tarray_8x16.add(gdstk.Label('vdd', (23.94,8.865), layer=36, texttype=10))
l2_sp6tarray_8x16.add(gdstk.Label('vdd', (29.26,8.865), layer=36, texttype=10))
l2_sp6tarray_8x16.add(gdstk.Label('vdd', (34.58,8.865), layer=36, texttype=10))
l2_sp6tarray_8x16.add(gdstk.Label('vdd', (39.9,8.865), layer=36, texttype=10))
l2_sp6tarray_8x16.add(gdstk.Label('vdd', (45.22,8.865), layer=36, texttype=10))
l2_sp6tarray_8x16.add(gdstk.Label('vdd', (50.54,8.865), layer=36, texttype=10))
l2_sp6tarray_8x16.add(gdstk.Label('vdd', (55.86,8.865), layer=36, texttype=10))
l2_sp6tarray_8x16.add(gdstk.Label('vdd', (61.18,8.865), layer=36, texttype=10))
l2_sp6tarray_8x16.add(gdstk.Label('vdd', (66.5,8.865), layer=36, texttype=10))
l2_sp6tarray_8x16.add(gdstk.Label('vdd', (71.82,8.865), layer=36, texttype=10))
l2_sp6tarray_8x16.add(gdstk.Label('vdd', (77.14,8.865), layer=36, texttype=10))
l2_sp6tarray_8x16.add(gdstk.Label('vdd', (82.46,8.865), layer=36, texttype=10))
l2_sp6tarray_8x16.add(gdstk.Label('vss', (0.89,8.865), layer=36, texttype=10))
l2_sp6tarray_8x16.add(gdstk.Label('vss', (11.53,8.865), layer=36, texttype=10))
l2_sp6tarray_8x16.add(gdstk.Label('vss', (22.17,8.865), layer=36, texttype=10))
l2_sp6tarray_8x16.add(gdstk.Label('vss', (32.81,8.865), layer=36, texttype=10))
l2_sp6tarray_8x16.add(gdstk.Label('vss', (43.45,8.865), layer=36, texttype=10))
l2_sp6tarray_8x16.add(gdstk.Label('vss', (54.09,8.865), layer=36, texttype=10))
l2_sp6tarray_8x16.add(gdstk.Label('vss', (64.73,8.865), layer=36, texttype=10))
l2_sp6tarray_8x16.add(gdstk.Label('vss', (75.37,8.865), layer=36, texttype=10))
l2_sp6tarray_8x16.add(gdstk.Label('vss', (9.75,8.865), layer=36, texttype=10))
l2_sp6tarray_8x16.add(gdstk.Label('vss', (20.39,8.865), layer=36, texttype=10))
l2_sp6tarray_8x16.add(gdstk.Label('vss', (31.03,8.865), layer=36, texttype=10))
l2_sp6tarray_8x16.add(gdstk.Label('vss', (41.67,8.865), layer=36, texttype=10))
l2_sp6tarray_8x16.add(gdstk.Label('vss', (52.31,8.865), layer=36, texttype=10))
l2_sp6tarray_8x16.add(gdstk.Label('vss', (62.95,8.865), layer=36, texttype=10))
l2_sp6tarray_8x16.add(gdstk.Label('vss', (73.59,8.865), layer=36, texttype=10))
l2_sp6tarray_8x16.add(gdstk.Label('vss', (84.23,8.865), layer=36, texttype=10))
l2_sp6tarray_8x16.add(gdstk.Label('vss', (4.43,8.96), layer=36, texttype=10))
l2_sp6tarray_8x16.add(gdstk.Label('vss', (15.07,8.96), layer=36, texttype=10))
l2_sp6tarray_8x16.add(gdstk.Label('vss', (25.71,8.96), layer=36, texttype=10))
l2_sp6tarray_8x16.add(gdstk.Label('vss', (36.35,8.96), layer=36, texttype=10))
l2_sp6tarray_8x16.add(gdstk.Label('vss', (46.99,8.96), layer=36, texttype=10))
l2_sp6tarray_8x16.add(gdstk.Label('vss', (57.63,8.96), layer=36, texttype=10))
l2_sp6tarray_8x16.add(gdstk.Label('vss', (68.27,8.96), layer=36, texttype=10))
l2_sp6tarray_8x16.add(gdstk.Label('vss', (78.91,8.96), layer=36, texttype=10))
l2_sp6tarray_8x16.add(gdstk.Label('vss', (6.21,8.96), layer=36, texttype=10))
l2_sp6tarray_8x16.add(gdstk.Label('vss', (16.85,8.96), layer=36, texttype=10))
l2_sp6tarray_8x16.add(gdstk.Label('vss', (27.49,8.96), layer=36, texttype=10))
l2_sp6tarray_8x16.add(gdstk.Label('vss', (38.13,8.96), layer=36, texttype=10))
l2_sp6tarray_8x16.add(gdstk.Label('vss', (48.77,8.96), layer=36, texttype=10))
l2_sp6tarray_8x16.add(gdstk.Label('vss', (59.41,8.96), layer=36, texttype=10))
l2_sp6tarray_8x16.add(gdstk.Label('vss', (70.05,8.96), layer=36, texttype=10))
l2_sp6tarray_8x16.add(gdstk.Label('vss', (80.69,8.96), layer=36, texttype=10))
l2_sp6tarray_8x16.add(gdstk.Label('bl[2]', (12.42,8.96), layer=36, texttype=10))
l2_sp6tarray_8x16.add(gdstk.Label('bl[7]', (40.78,8.96), layer=36, texttype=10))
l2_sp6tarray_8x16.add(gdstk.Label('bl_n[5]', (28.38,8.96), layer=36, texttype=10))
l2_sp6tarray_8x16.add(gdstk.Label('bl_n[9]', (49.66,8.96), layer=36, texttype=10))
l2_sp6tarray_8x16.add(gdstk.Label('bl[10]', (54.98,8.96), layer=36, texttype=10))
l2_sp6tarray_8x16.add(gdstk.Label('bl[1]', (8.86,8.96), layer=36, texttype=10))
l2_sp6tarray_8x16.add(gdstk.Label('bl_n[4]', (24.82,8.96), layer=36, texttype=10))
l2_sp6tarray_8x16.add(gdstk.Label('bl_n[11]', (60.3,8.96), layer=36, texttype=10))
l2_sp6tarray_8x16.add(gdstk.Label('bl[6]', (33.7,8.96), layer=36, texttype=10))
l2_sp6tarray_8x16.add(gdstk.Label('bl_n[6]', (35.46,8.96), layer=36, texttype=10))
l2_sp6tarray_8x16.add(gdstk.Label('bl_n[7]', (39.02,8.96), layer=36, texttype=10))
l2_sp6tarray_8x16.add(gdstk.Label('bl[9]', (51.42,8.96), layer=36, texttype=10))
l2_sp6tarray_8x16.add(gdstk.Label('bl_n[10]', (56.74,8.96), layer=36, texttype=10))
l2_sp6tarray_8x16.add(gdstk.Label('bl[11]', (62.06,8.96), layer=36, texttype=10))
l2_sp6tarray_8x16.add(gdstk.Label('bl_n[12]', (67.38,8.96), layer=36, texttype=10))
l2_sp6tarray_8x16.add(gdstk.Label('bl_n[8]', (46.1,8.96), layer=36, texttype=10))
l2_sp6tarray_8x16.add(gdstk.Label('bl[12]', (65.62,8.96), layer=36, texttype=10))
l2_sp6tarray_8x16.add(gdstk.Label('bl[15]', (83.34,8.96), layer=36, texttype=10))
l2_sp6tarray_8x16.add(gdstk.Label('bl_n[3]', (17.74,8.96), layer=36, texttype=10))
l2_sp6tarray_8x16.add(gdstk.Label('bl[8]', (44.34,8.96), layer=36, texttype=10))
l2_sp6tarray_8x16.add(gdstk.Label('bl[13]', (72.7,8.96), layer=36, texttype=10))

lib.write_gds('L2_SP6TArray_8X16.gds')
